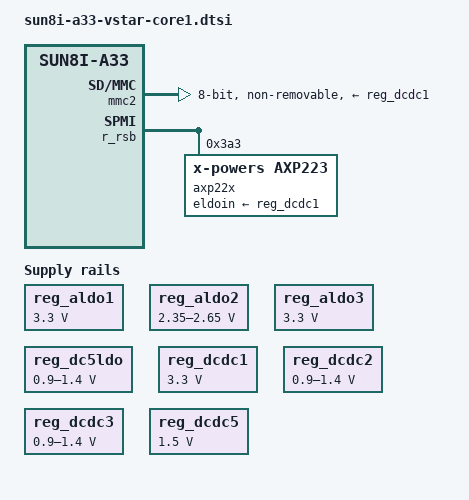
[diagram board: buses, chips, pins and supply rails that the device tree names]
// SPDX-License-Identifier: (GPL-2.0+ OR MIT)
/*
 * Copyright (C) 2024 Icenowy Zheng <uwu@icenowy.me>
 */

#include "sun8i-a33.dtsi"

&mmc2 {
	pinctrl-names = "default";
	pinctrl-0 = <&mmc2_8bit_pins>;
	vmmc-supply = <&reg_dcdc1>;
	bus-width = <8>;
	non-removable;
	cap-mmc-hw-reset;
	status = "okay";
};

&mmc2_8bit_pins {
	/* Increase drive strength for DDR modes */
	drive-strength = <40>;
};

&r_rsb {
	status = "okay";

	axp22x: pmic@3a3 {
		compatible = "x-powers,axp223";
		reg = <0x3a3>;
		interrupt-parent = <&r_intc>;
		interrupts = <GIC_SPI 32 IRQ_TYPE_LEVEL_LOW>;
		eldoin-supply = <&reg_dcdc1>;
		x-powers,drive-vbus-en;
	};
};

#include "axp223.dtsi"

&reg_aldo1 {
	regulator-always-on;
	regulator-min-microvolt = <3300000>;
	regulator-max-microvolt = <3300000>;
	regulator-name = "vcc-io";
};

&reg_aldo2 {
	regulator-always-on;
	regulator-min-microvolt = <2350000>;
	regulator-max-microvolt = <2650000>;
	regulator-name = "vdd-dll";
};

&reg_aldo3 {
	regulator-always-on;
	regulator-min-microvolt = <3300000>;
	regulator-max-microvolt = <3300000>;
	regulator-name = "vcc-avcc";
};

&reg_dc5ldo {
	regulator-always-on;
	regulator-min-microvolt = <900000>;
	regulator-max-microvolt = <1400000>;
	regulator-name = "vdd-cpus";
};

&reg_dcdc1 {
	regulator-always-on;
	regulator-min-microvolt = <3300000>;
	regulator-max-microvolt = <3300000>;
	regulator-name = "vcc-3v3";
};

&reg_dcdc2 {
	regulator-always-on;
	regulator-min-microvolt = <900000>;
	regulator-max-microvolt = <1400000>;
	regulator-name = "vdd-sys";
};

&reg_dcdc3 {
	regulator-always-on;
	regulator-min-microvolt = <900000>;
	regulator-max-microvolt = <1400000>;
	regulator-name = "vdd-cpu";
};

&reg_dcdc5 {
	regulator-always-on;
	regulator-min-microvolt = <1500000>;
	regulator-max-microvolt = <1500000>;
	regulator-name = "vcc-dram";
};

&reg_rtc_ldo {
	regulator-name = "vcc-rtc";
};
